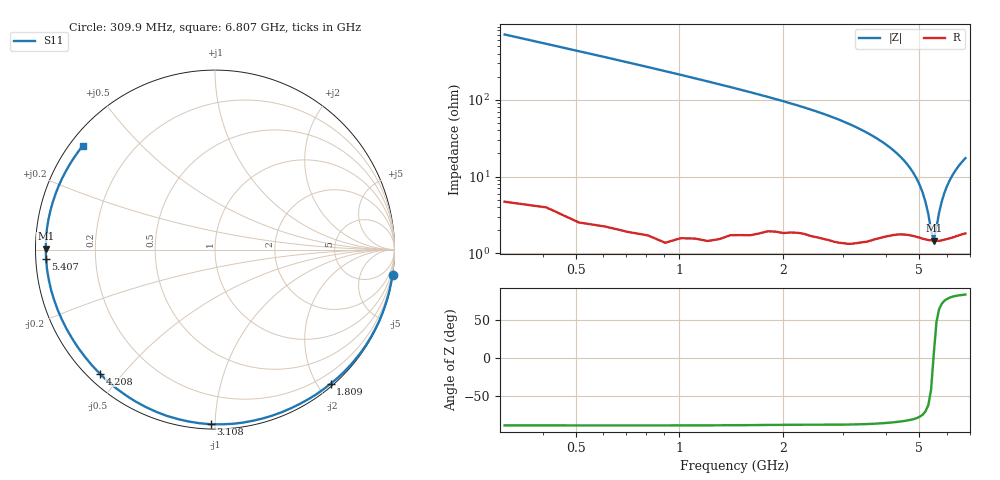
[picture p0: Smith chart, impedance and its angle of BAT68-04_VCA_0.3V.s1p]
! Infineon Technologies  Discrete & RF Semiconductors
! BAT68-04
! VCA = 0.3 V
! One-Port S-Parameters
# Hz  S  MA  R  50
!f  S11
!Hz  Mag  Ang
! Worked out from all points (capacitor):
!   66 points, 309.9 MHz to 6.807 GHz, reference 50 ohm
!   read as one part to ground: C = 721 fF near 309.9 MHz
!   lowest |Z| = 1.46 ohm at 5.507 GHz (marker M1)
!   series resonance near 5.498 GHz, so ESL is about 1.2 nH
!   S11 on the Smith chart (normalised r, x): 309.9 MHz: 0, -14; 1.809 GHz: 0.04, -2.18; 3.108 GHz: 0.03, -0.98; 4.208 GHz: 0.03, -0.44; 5.407 GHz: 0.03, -0.03; 6.807 GHz: 0.04, +0.35
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3.0985e8  0.9991 -8.1
6.097e8  0.9983 -15.9
8.096e8  0.9977 -21.2
1.0095e9  0.9967 -26.6
1.2094e9  0.9956 -32.1
1.50925e9  0.9917 -40.6
1.8091e9  0.9866 -49.2
2.009e9  0.9844 -55.1
2.4088e9  0.9794 -67.5
2.6087e9  0.9778 -74.0
2.8086e9  0.9764 -80.7
3.10845e9  0.9732 -91.3
3.30835e9  0.9691 -98.7
3.50825e9  0.9645 -106.2
3.6082e9  0.9613 -110.0
3.90805e9  0.9519 -121.4
4.2079e9  0.9432 -132.9
4.4078e9  0.9393 -140.4
4.6077e9  0.9376 -147.9
4.8076e9  0.9378 -155.3
5.0075e9  0.9393 -162.6
5.2074e9  0.9412 -169.9
5.4073e9  0.9425 -176.9
5.50725e9  0.9434 179.7
5.70715e9  0.9436 173.0
6.007e9  0.9416 163.6
6.4068e9  0.9387 152.1
6.8066e9  0.9371 141.8
